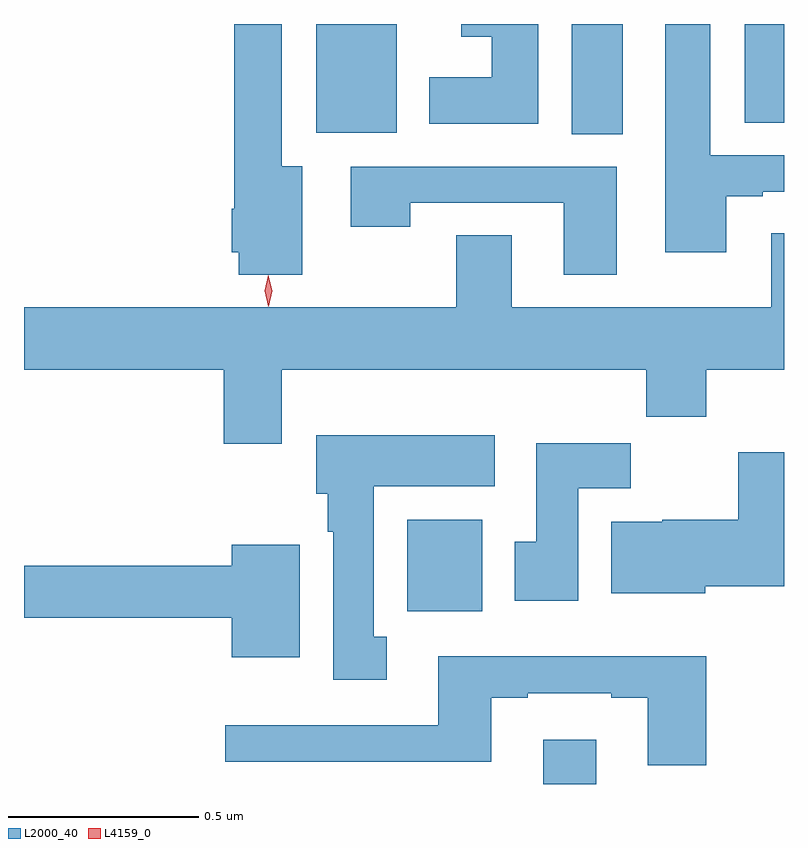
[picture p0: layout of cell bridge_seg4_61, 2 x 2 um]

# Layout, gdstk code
import gdstk
lib = gdstk.Library(unit=1e-6, precision=1e-09)
def R(c, l, rs):  # rectangles x0, y0, x1, y1
    for r in rs: c.add(gdstk.rectangle(r[:2], r[2:], *l))
def P(c, l, *ps):  # polygons
    for p in ps: c.add(gdstk.Polygon(p, *l))
L2000_40 = (2000, 40)
L4159_0 = (4159, 0)

bridge_seg4_61 = lib.new_cell('bridge_seg4_61')
R(bridge_seg4_61, L2000_40, [(734.483,786.406,734.623,786.523), (734.126,786.86,734.323,787.102), (734.558,788.116,734.692,788.406), (733.886,788.12,734.098,788.406), (735.014,788.146,735.117,788.406)])
P(bridge_seg4_61, L2000_40, [(734.965,787.953),(735.061,787.953),(735.061,787.965),(735.117,787.965),(735.117,788.061),(734.923,788.061),(734.923,788.406),(734.804,788.406),(734.804,787.806),(734.965,787.806)],
  [(734.47,788.406),(734.267,788.406),(734.267,788.372),(734.348,788.372),(734.348,788.266),(734.183,788.266),(734.183,788.144),(734.47,788.144)],
  [(733.849,788.032),(733.795,788.032),(733.795,788.406),(733.67,788.406),(733.67,787.92),(733.664,787.92),(733.664,787.806),(733.682,787.806),(733.682,787.746),(733.849,787.746)],
  [(734.677,788.031),(733.977,788.031),(733.977,787.872),(734.133,787.872),(734.133,787.935),(734.537,787.935),(734.537,787.746),(734.677,787.746)],
  [(733.795,787.496),(734.755,787.496),(734.755,787.372),(734.912,787.372),(734.912,787.496),(735.117,787.496),(735.117,787.855),(735.083,787.855),(735.083,787.66),(734.401,787.66),(734.401,787.85),(734.254,787.85),(734.254,787.66),(733.117,787.66),(733.117,787.496),(733.643,787.496),(733.643,787.302),(733.795,787.302)],
  [(734.071,786.794),(734.038,786.794),(734.038,787.19),(734.356,787.19),(734.356,787.324),(733.886,787.324),(733.886,787.17),(733.916,787.17),(733.916,787.07),(733.931,787.07),(733.931,786.681),(734.071,786.681)],
  [(734.575,787.184),(734.714,787.184),(734.714,787.303),(734.465,787.303),(734.465,787.044),(734.408,787.044),(734.408,786.888),(734.575,786.888)],
  [(734.91,786.926),(735.117,786.926),(735.117,787.279),(734.996,787.279),(734.996,787.102),(734.796,787.102),(734.796,787.096),(734.663,787.096),(734.663,786.908),(734.91,786.908)],
  [(733.843,787.036),(733.664,787.036),(733.664,786.98),(733.117,786.98),(733.117,786.844),(733.664,786.844),(733.664,786.74),(733.843,786.74)],
  [(734.912,786.742),(734.207,786.742),(734.207,786.561),(733.647,786.561),(733.647,786.464),(734.347,786.464),(734.347,786.633),(734.443,786.633),(734.443,786.645),(734.663,786.645),(734.663,786.633),(734.759,786.633),(734.759,786.456),(734.912,786.456)])
P(bridge_seg4_61, L4159_0, [(733.76,787.663),(733.76,787.663),(733.75,787.704),(733.76,787.745),(733.76,787.745),(733.76,787.745),(733.77,787.704),(733.761,787.663)])

lib.write_gds('bridge_seg4_61.gds')
